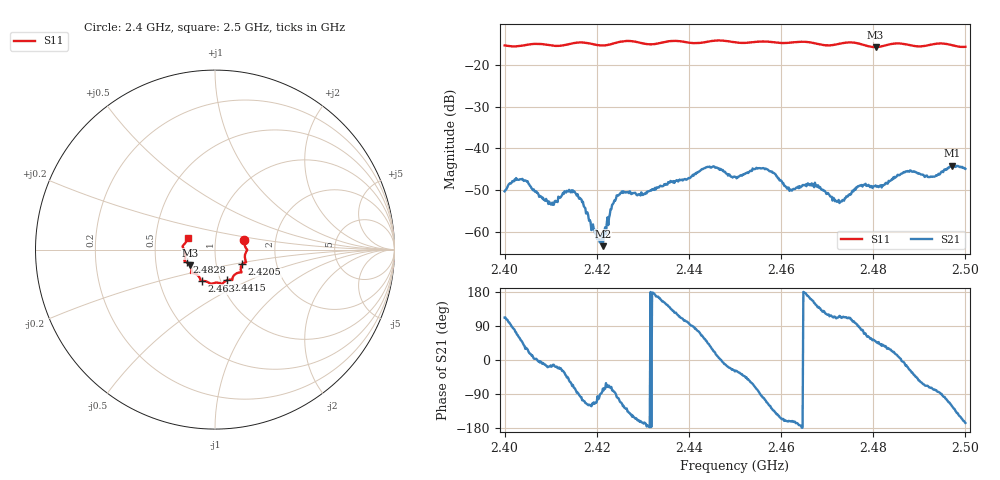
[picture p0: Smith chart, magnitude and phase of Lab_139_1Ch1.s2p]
# Hz S RI R 50
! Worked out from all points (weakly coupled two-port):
!   601 points, 2.4 GHz to 2.5 GHz, reference 50 ohm
!   highest |S21| = -44.16 dB at 2.4972 GHz (marker M1); lowest = -63.4 dB at 2.4213 GHz (marker M2)
!   lowest |S11| = -15.7 dB at 2.4805 GHz (marker M3), VSWR 1.39, Z = 37.3 - j6.68 ohm
!   |S11| at or under -10 dB: start of sweep to end of sweep
!   S12 and S22 are empty: the file has one direction only
!   S11 on the Smith chart (normalised r, x): 2.4 GHz: 1.38, +0.15; 2.4205 GHz: 1.34, -0.23; 2.4415 GHz: 1.07, -0.38; 2.463 GHz: 0.82, -0.29; 2.4828 GHz: 0.72, -0.10; 2.5 GHz: 0.73, +0.10
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2.4e9  0.1638 0.0518  -0.00115 0.00284  0 0  0 0
2.4035e9  0.1693 0.014  0.00262 0.00338  0 0  0 0
2.41e9  0.1714 -0.0157  0.00207 -0.00053  0 0  0 0
2.414e9  0.169 -0.0575  0.00185 -0.00259  0 0  0 0
2.416667e9  0.1732 -0.07  -0.000348 -0.00242  0 0  0 0
2.4205e9  0.1521 -0.0819  -0.000144 -0.000799  0 0  0 0
2.421333e9  0.1473 -0.0887  0.000171 -0.00065  0 0  0 0
2.424833e9  0.1455 -0.1206  -0.000673 -0.00271  0 0  0 0
2.433333e9  0.1003 -0.1515  -0.00332 0.000757  0 0  0 0
2.4415e9  0.0657 -0.1707  0.000649 0.00487  0 0  0 0
2.4455e9  0.042 -0.1913  0.00563 0.00229  0 0  0 0
2.45e9  0.0242 -0.1859  0.00395 -0.0023  0 0  0 0
2.456333e9  -0.0225 -0.1906  -0.00116 -0.00562  0 0  0 0
2.463e9  -0.0722 -0.1738  -0.00311 -0.000964  0 0  0 0
2.466667e9  -0.0821 -0.1667  -0.00353 0.00143  0 0  0 0
2.4725e9  -0.1226 -0.1307  -0.000951 0.00222  0 0  0 0
2.477e9  -0.132 -0.1227  0.00026 0.00356  0 0  0 0
2.4805e9  -0.1392 -0.0872  0.00234 0.00274  0 0  0 0
2.482833e9  -0.1586 -0.07  0.00324 0.00213  0 0  0 0
2.483333e9  -0.1624 -0.0679  0.0035 0.0021  0 0  0 0
2.497167e9  -0.17 0.0312  -0.00333 -0.00522  0 0  0 0
2.5e9  -0.1524 0.0644  -0.00554 -0.00138  0 0  0 0
